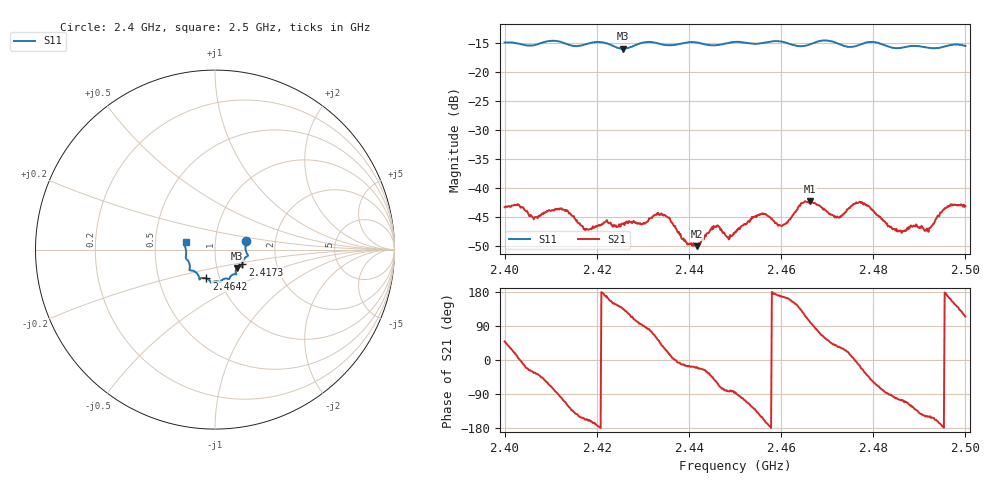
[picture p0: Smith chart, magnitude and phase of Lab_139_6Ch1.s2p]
# Hz S RI R 50
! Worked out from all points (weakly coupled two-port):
!   601 points, 2.4 GHz to 2.5 GHz, reference 50 ohm
!   highest |S21| = -42.27 dB at 2.4663 GHz (marker M1); lowest = -50.1 dB at 2.4418 GHz (marker M2)
!   lowest |S11| = -15.9 dB at 2.4257 GHz (marker M3), VSWR 1.38, Z = 62.4 - j13.1 ohm
!   |S11| at or under -10 dB: start of sweep to end of sweep
!   S12 and S22 are empty: the file has one direction only
!   S11 on the Smith chart (normalised r, x): 2.4 GHz: 1.41, +0.14; 2.4173 GHz: 1.34, -0.23; 2.4642 GHz: 0.86, -0.29; 2.5 GHz: 0.72, +0.06
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2.4e9  0.1737 0.0491  0.00447 0.00514  0 0  0 0
2.406667e9  0.1718 -0.00684  0.00467 -0.00311  0 0  0 0
2.4125e9  0.1774 -0.038  -0.00142 -0.00632  0 0  0 0
2.416667e9  0.1528 -0.0753  -0.00417 -0.00219  0 0  0 0
2.417333e9  0.1521 -0.0829  -0.004 -0.00187  0 0  0 0
2.425667e9  0.1223 -0.1023  -0.00346 0.00347  0 0  0 0
2.433333e9  0.1127 -0.1366  0.0037 0.00482  0 0  0 0
2.441833e9  0.0754 -0.1641  0.00294 -0.00107  0 0  0 0
2.445833e9  0.0481 -0.1641  0.00262 -0.00383  0 0  0 0
2.448333e9  0.0339 -0.1752  0.000504 -0.0037  0 0  0 0
2.45e9  0.0297 -0.1806  0.000361 -0.00413  0 0  0 0
2.455833e9  -0.00542 -0.178  -0.00515 -0.00297  0 0  0 0
2.4605e9  -0.025 -0.1811  -0.00467 0.00109  0 0  0 0
2.464167e9  -0.0482 -0.1607  -0.00491 0.00499  0 0  0 0
2.466333e9  -0.0732 -0.1586  -0.00116 0.00761  0 0  0 0
2.466667e9  -0.0761 -0.1593  -0.000612 0.00746  0 0  0 0
2.472167e9  -0.0879 -0.1551  0.00455 0.00336  0 0  0 0
2.4775e9  -0.1315 -0.1161  0.00692 -0.00296  0 0  0 0
2.483333e9  -0.1405 -0.0893  -9.85e-05 -0.00469  0 0  0 0
2.4915e9  -0.1611 -0.0304  -0.0036 -0.00227  0 0  0 0
2.496e9  -0.1676 0.0196  -0.00669 0.00114  0 0  0 0
2.5e9  -0.1636 0.0417  -0.00287 0.00633  0 0  0 0
